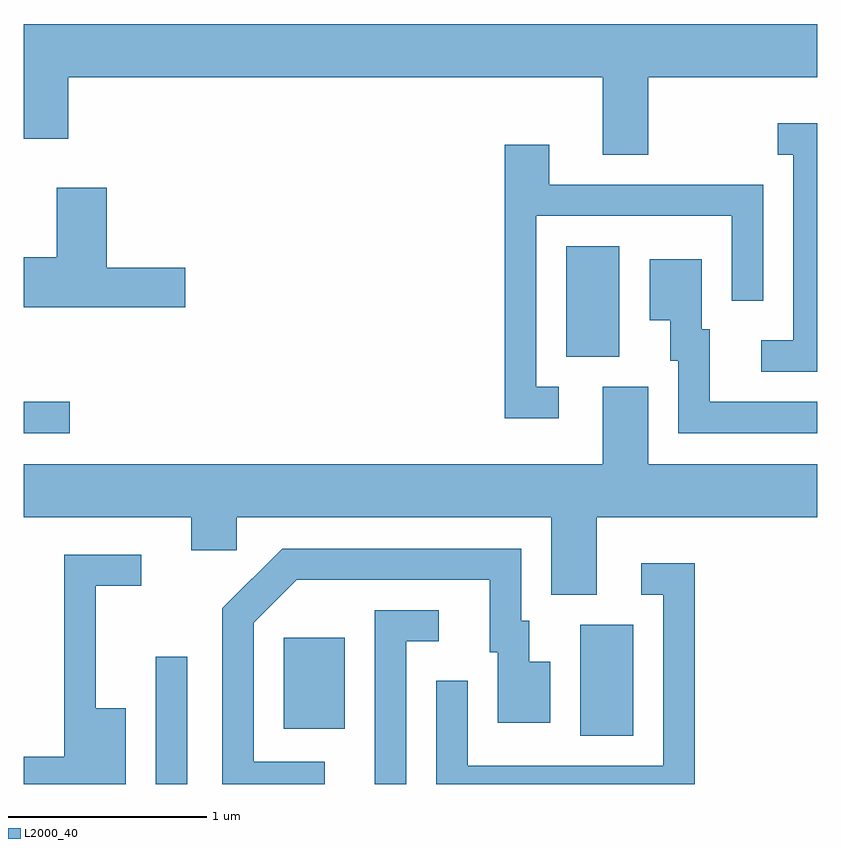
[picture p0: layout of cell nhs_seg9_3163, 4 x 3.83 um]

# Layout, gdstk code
import gdstk
lib = gdstk.Library(unit=1e-6, precision=1e-09)
def R(c, l, rs):  # rectangles x0, y0, x1, y1
    for r in rs: c.add(gdstk.rectangle(r[:2], r[2:], *l))
def P(c, l, *ps):  # polygons
    for p in ps: c.add(gdstk.Polygon(p, *l))
L2000_40 = (2000, 40)

nhs_seg9_3163 = lib.new_cell('nhs_seg9_3163')
R(nhs_seg9_3163, L2000_40, [(278.276,2030.432,278.434,2031.073), (280.416,2030.676,280.684,2031.234), (278.921,2030.711,279.229,2031.169), (277.611,2032.201,277.843,2032.359), (280.346,2032.586,280.614,2033.144)])
P(nhs_seg9_3163, L2000_40, [(280.759,2033.996),(281.611,2033.996),(281.611,2034.264),(277.611,2034.264),(277.611,2033.686),(277.834,2033.686),(277.834,2033.996),(280.531,2033.996),(280.531,2033.606),(280.759,2033.606)],
  [(281.611,2033.764),(281.413,2033.764),(281.413,2033.606),(281.491,2033.606),(281.491,2032.669),(281.328,2032.669),(281.328,2032.511),(281.611,2032.511)],
  [(280.308,2032.434),(280.194,2032.434),(280.194,2033.296),(281.181,2033.296),(281.181,2032.868),(281.339,2032.868),(281.339,2033.454),(280.259,2033.454),(280.259,2033.654),(280.036,2033.654),(280.036,2032.276),(280.308,2032.276)],
  [(278.424,2033.034),(278.029,2033.034),(278.029,2033.439),(277.776,2033.439),(277.776,2033.089),(277.611,2033.089),(277.611,2032.836),(278.424,2032.836)],
  [(281.611,2032.359),(281.069,2032.359),(281.069,2032.724),(281.029,2032.724),(281.029,2033.079),(280.766,2033.079),(280.766,2032.771),(280.871,2032.771),(280.871,2032.566),(280.911,2032.566),(280.911,2032.201),(281.611,2032.201)],
  [(280.499,2031.776),(281.611,2031.776),(281.611,2032.044),(280.759,2032.044),(280.759,2032.434),(280.531,2032.434),(280.531,2032.044),(277.611,2032.044),(277.611,2031.776),(278.456,2031.776),(278.456,2031.611),(278.684,2031.611),(278.684,2031.776),(280.271,2031.776),(280.271,2031.386),(280.499,2031.386)],
  [(279.128,2030.544),(278.769,2030.544),(278.769,2031.244),(278.987,2031.461),(279.961,2031.461),(279.961,2031.096),(280.001,2031.096),(280.001,2030.741),(280.264,2030.741),(280.264,2031.049),(280.159,2031.049),(280.159,2031.254),(280.119,2031.254),(280.119,2031.619),(278.914,2031.619),(278.611,2031.317),(278.611,2030.432),(279.128,2030.432)],
  [(278.124,2030.814),(277.974,2030.814),(277.974,2031.431),(278.203,2031.431),(278.203,2031.589),(277.816,2031.589),(277.816,2030.569),(277.611,2030.569),(277.611,2030.432),(278.124,2030.432)],
  [(280.994,2031.544),(280.723,2031.544),(280.723,2031.386),(280.836,2031.386),(280.836,2030.524),(279.849,2030.524),(279.849,2030.953),(279.691,2030.953),(279.691,2030.432),(280.994,2030.432)],
  [(279.539,2031.151),(279.703,2031.151),(279.703,2031.309),(279.381,2031.309),(279.381,2030.432),(279.539,2030.432)])

lib.write_gds('nhs_seg9_3163.gds')
